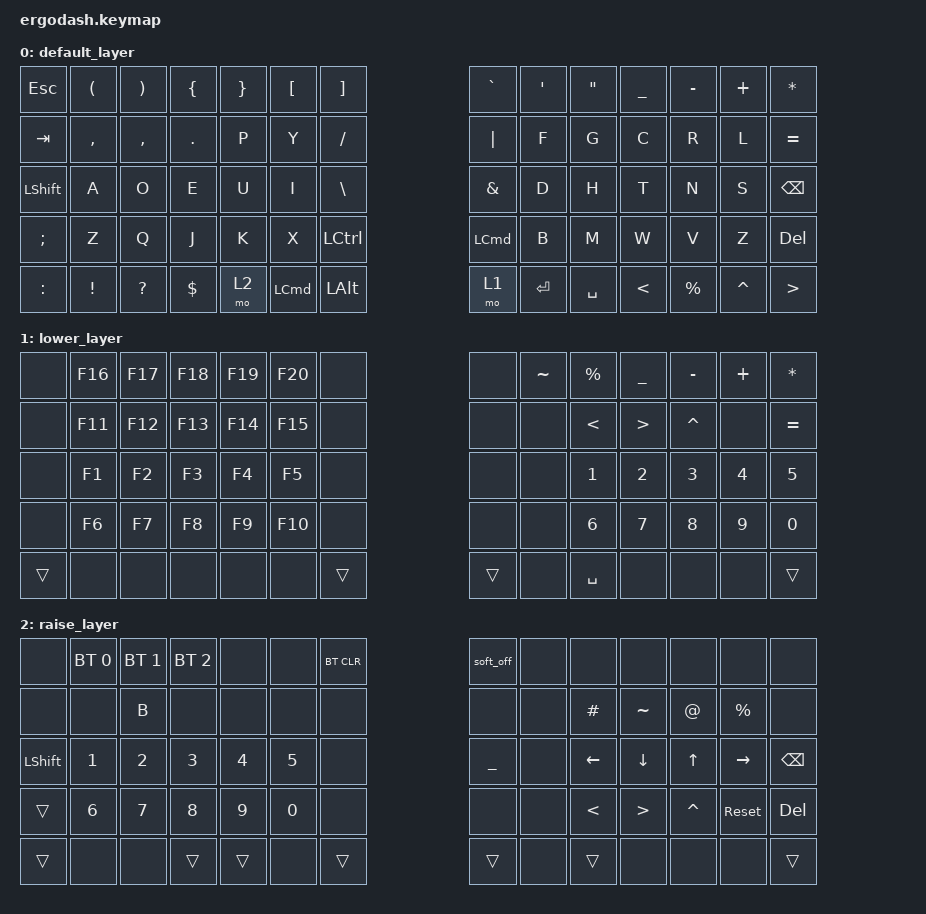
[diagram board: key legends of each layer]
/*
 * Copyright (c) 2020 The ZMK Contributors
 *
 * SPDX-License-Identifier: MIT
 */

#include <behaviors.dtsi>
#include <dt-bindings/zmk/bt.h>
#include <dt-bindings/zmk/keys.h>

#define DEFAULT 0
#define LOWER   1
#define RAISE   2

&soft_off {
    hold-time-ms = <3000>; // Only turn off it the key is held for 5 seconds or longer.
};

/ {
    combos {
        compatible = "zmk,combos";

        left {
            bindings = <&kp LS(LEFT)>;
            key-positions = <37 60>;
        };

        up {
            bindings = <&kp UP_ARROW>;
            key-positions = <38 60>;
        };

        down {
            bindings = <&kp DOWN>;
            key-positions = <39 60>;
        };

        right {
            bindings = <&kp RIGHT>;
            key-positions = <40 60>;
        };
    };

    keymap {
        compatible = "zmk,keymap";

        default_layer {
            /* QWERTY
 * .----------------------------------------------------------------------------------------------------------------------.
 * |  `   |   1  |   2  |   3  |   4  |   5  |  [   |                    |  ]   |   6  |   7  |   8  |   9  |   0  | PScr |
 * |------+------+------+------+------+------+------+--------------------+------+------+------+------+------+------+------|
 * | ESC  |   Q  |   W  |   E  |   R  |   T  |  -   |                    |  =   |   Y  |   U  |   I  |   O  |   P  |  \   |
 * |------+------+------+------+------+------+------+--------------------+------+------+------+------+------+------+------|
 * | Tab  |   A  |   S  |   D  |   F  |   G  | Del  |                    | Bksp |   H  |   J  |   K  |   L  |   ;  |  '   |
 * |------+------+------+------+------+------+---------------------------+------+------+------+------+------+------+------|
 * | Shift|   Z  |   X  |   C  |   V  |   B  | End  |                    | Home |   N  |   M  |   ,  |   .  |   /  | Shift|
 * |-------------+------+------+------+------+------+------+------+------+------+------+------+------+------+-------------|
 * | Ctrl |      | PGDN | Win  |||||||| Alt  | Space| Lower|||||||| Raise| Enter| RAlt ||||||||      | PGUP | Ins  | RCtrl|
 * .----------------------------------------------------------------------------------------------------------------------.
 */

            bindings = <
&kp ESCAPE      &kp LEFT_PARENTHESIS  &kp RIGHT_PARENTHESIS  &kp LEFT_BRACE  &kp RIGHT_BRACE  &kp LEFT_BRACKET  &kp RIGHT_BRACKET                                  &kp GRAVE      &kp SINGLE_QUOTE  &kp DOUBLE_QUOTES  &kp UNDER      &kp MINUS    &kp PLUS   &kp ASTRK
&kp TAB         &kp COMMA             &kp COMMA              &kp PERIOD      &kp P            &kp Y             &kp SLASH                                          &kp PIPE       &kp F             &kp G              &kp C          &kp R        &kp L      &kp EQUAL
&kp LEFT_SHIFT  &kp A                 &kp O                  &kp E           &kp U            &kp I             &kp BACKSLASH                                      &kp AMPERSAND  &kp D             &kp H              &kp T          &kp N        &kp S      &kp BACKSPACE
&kp SEMICOLON   &kp Z                 &kp Q                  &kp J           &kp K            &kp X                                &kp LCTRL     &kp LEFT_COMMAND                 &kp B             &kp M              &kp W          &kp V        &kp Z      &kp DELETE
&kp COLON       &kp EXCLAMATION       &kp QUESTION           &kp DOLLAR      &mo 2                              &kp LEFT_COMMAND   &kp LEFT_ALT  &mo 1             &kp RET                          &kp SPACE          &kp LESS_THAN  &kp PERCENT  &kp CARET  &kp GREATER_THAN
            >;
        };

        lower_layer {
            /* .----------------------------------------------------------------------------------------------------------------------.
 * |  F11 |  F1  |  F2  |  F3  |  F4  |  F5  |      |                    |      |  F6  |  F7  |  F8  |  F9  |  F10 |  F12 |
 * |------+------+------+------+------+------+------+--------------------+------+------+------+------+------+------+------|
 * |      |      |      |      |      |      |      |                    |      |      |      |      |      |      |      |
 * |------+------+------+------+------+------+------+--------------------+------+------+------+------+------+------+------|
 * |      |      |      |      |      |      |      |                    |      |      |      |      |      |      |      |
 * |------+------+------+------+------+------+---------------------------+------+------+------+------+------+------+------|
 * | Shift| Boot | Reset|      |      |      |      |                    |      |      |      |      |      |      | Shift|
 * |-------------+------+------+------+------+------+------+------+------+------+------+------+------+------+-------------|
 * | Ctlr |      |      |  Win |||||||| Alt  |      | Lower|||||||| Raise|      | RAlt ||||||||      |      |      | RCtrl|
 * .----------------------------------------------------------------------------------------------------------------------.
 */ /* FIXME boot and reset are not yet locale aware */
            bindings = <
&none   &kp F16  &kp F17  &kp F18  &kp F19  &kp F20  &none                  &none  &kp TILDE  &kp PERCENT    &kp UNDER         &kp MINUS     &kp PLUS      &kp ASTRK
&none   &kp F11  &kp F12  &kp F13  &kp F14  &kp F15  &none                  &none  &none      &kp LESS_THAN  &kp GREATER_THAN  &kp CARET     &none         &kp EQUAL
&none   &kp F1   &kp F2   &kp F3   &kp F4   &kp F5   &none                  &none  &none      &kp NUMBER_1   &kp NUMBER_2      &kp NUMBER_3  &kp NUMBER_4  &kp N5
&none   &kp F6   &kp F7   &kp F8   &kp F9   &kp F10         &none   &none          &none      &kp NUMBER_6   &kp N7            &kp N8        &kp N9        &kp N0
&trans  &none    &none    &none    &none             &none  &trans  &trans  &none             &kp SPACE      &none             &none         &none         &trans
            >;
        };

        raise_layer {
            /* .----------------------------------------------------------------------------------------------------------------------.
 * |      | BT 0 | BT 1 | BT 2 | BT 3 |      | BTCL |                    | s-off|      |      |      |      |      |      |
 * |------+------+------+------+------+------+------+--------------------+------+------+------+------+------+------+------|
 * |      |      |      |      |      |      |      |                    |      |      |      |      |      |      |      |
 * |------+------+------+------+------+------+------+--------------------+------+------+------+------+------+------+------|
 * |      |      |      |      |      |      |      |                    |      |      |      |      |      |      |      |
 * |------+------+------+------+------+------+---------------------------+------+------+------+------+------+------+------|
 * | Shift|      |      |      |      |      |      |                    |      |      |      |      | Boot | Reset| Shift|
 * |-------------+------+------+------+------+------+------+------+------+------+------+------+------+------+-------------|
 * | Ctlr |      |      |  Win |||||||| Alt  |      | Lower|||||||| Raise|      | RAlt ||||||||      |      |      | RCtrl|
 * .----------------------------------------------------------------------------------------------------------------------.
 */ /* FIXME boot and reset are not yet locale aware */
            bindings = <
&none           &bt BT_SEL 0  &bt BT_SEL 1  &bt BT_SEL 2  &none         &none   &bt BT_CLR                  &soft_off  &none  &none          &none             &none         &none        &none
&none           &none         &kp B         &none         &none         &none   &none                       &none      &none  &kp HASH       &kp TILDE         &kp AT_SIGN   &kp PERCENT  &none
&kp LEFT_SHIFT  &kp NUMBER_1  &kp NUMBER_2  &kp NUMBER_3  &kp NUMBER_4  &kp N5  &none                       &kp UNDER  &none  &kp LEFT       &kp DOWN          &kp UP_ARROW  &kp RIGHT    &kp BACKSPACE
&trans          &kp NUMBER_6  &kp N7        &kp N8        &kp N9        &kp N0              &none   &none              &none  &kp LESS_THAN  &kp GREATER_THAN  &kp CARET     &sys_reset   &kp DELETE
&trans          &none         &none         &trans        &trans                &none       &trans  &trans  &none             &trans         &none             &none         &none        &trans
            >;
        };
    };
};
